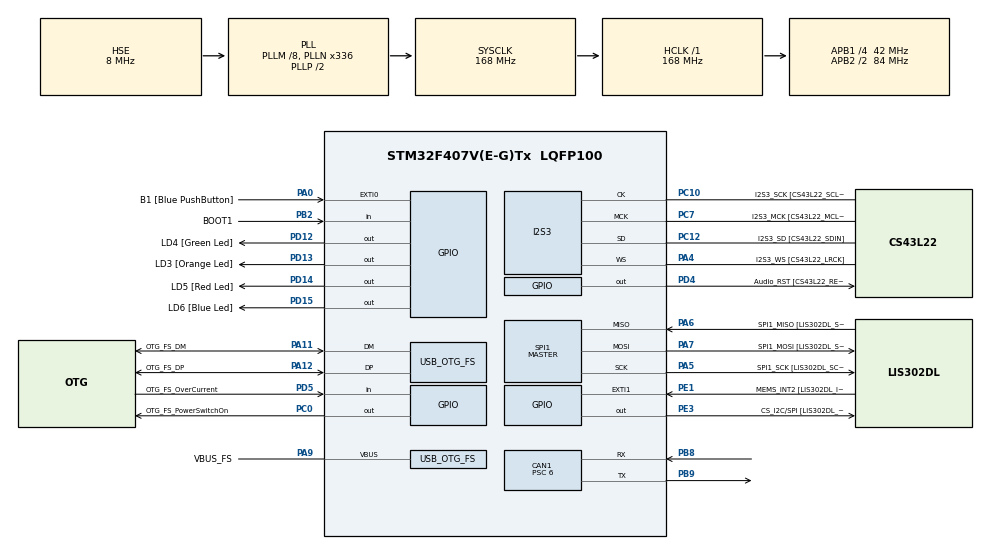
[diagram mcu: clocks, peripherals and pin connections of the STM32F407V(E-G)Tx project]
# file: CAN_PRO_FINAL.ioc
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CAN1.BS1=CAN_BS1_11TQ
CAN1.BS2=CAN_BS2_2TQ
CAN1.CalculateBaudRate=500000
CAN1.CalculateTimeBit=2000
CAN1.CalculateTimeQuantum=142.85714285714286
CAN1.Mode=CAN_MODE_LOOPBACK
CAN1.Prescaler=6
I2S3.AudioFreq-Half_Duplex_Master=I2S_AUDIOFREQ_96K
I2S3.ErrorAudioFreq=-2.34 %
I2S3.ErrorAudioFreq-Half_Duplex_Master=0.8 %
I2S3.FullDuplexMode=I2S_FULLDUPLEXMODE_DISABLE
I2S3.Instance=SPI$Index
I2S3.RealAudioFreq=93.75 KHz
I2S3.RealAudioFreq-Half_Duplex_Master=96.774 KHz
I2S3.VirtualMode=I2S_MODE_MASTER
Mcu.Family=STM32F4
Mcu.Name=STM32F407V(E-G)Tx
Mcu.Package=LQFP100
NVIC.CAN1_RX0_IRQn=true\:0\:0\:false\:false\:true\:true\:true\:true
NVIC.OTG_FS_IRQn=true\:0\:0\:false\:false\:true\:true\:true\:true
NVIC.PriorityGroup=NVIC_PRIORITYGROUP_0
PA0-WKUP.GPIO_Label=B1 [Blue PushButton]
PA0-WKUP.GPIO_ModeDefaultEXTI=GPIO_MODE_EVT_RISING
PA0-WKUP.GPIO_PuPd=GPIO_NOPULL
PA0-WKUP.Signal=GPXTI0
PA10.GPIO_Label=OTG_FS_ID
PA10.GPIO_Mode=GPIO_MODE_AF_PP
PA10.GPIO_PuPd=GPIO_NOPULL
PA10.GPIO_Speed=GPIO_SPEED_FREQ_LOW
PA10.Signal=USB_OTG_FS_ID
PA11.GPIO_Label=OTG_FS_DM
PA11.GPIO_Mode=GPIO_MODE_AF_PP
PA11.GPIO_PuPd=GPIO_NOPULL
PA11.GPIO_Speed=GPIO_SPEED_FREQ_LOW
PA11.Mode=Host_Only
PA11.Signal=USB_OTG_FS_DM
PA12.GPIO_Label=OTG_FS_DP
PA12.GPIO_Mode=GPIO_MODE_AF_PP
PA12.GPIO_PuPd=GPIO_NOPULL
PA12.GPIO_Speed=GPIO_SPEED_FREQ_LOW
PA12.Mode=Host_Only
PA12.Signal=USB_OTG_FS_DP
PA13.GPIO_Label=SWDIO
PA13.Mode=Serial_Wire
PA13.Signal=SYS_JTMS-SWDIO
PA14.GPIO_Label=SWCLK
PA14.Mode=Serial_Wire
PA14.Signal=SYS_JTCK-SWCLK
PA4.GPIO_Label=I2S3_WS [CS43L22_LRCK]
PA4.GPIO_Mode=GPIO_MODE_AF_PP
PA4.GPIO_PuPd=GPIO_NOPULL
PA4.GPIO_Speed=GPIO_SPEED_FREQ_LOW
PA4.Mode=Half_Duplex_Master
PA4.Signal=I2S3_WS
PA5.GPIO_Label=SPI1_SCK [LIS302DL_SCL/SPC]
PA5.GPIO_Mode=GPIO_MODE_AF_PP
PA5.GPIO_PuPd=GPIO_NOPULL
PA5.GPIO_Speed=GPIO_SPEED_FREQ_LOW
PA5.Mode=Full_Duplex_Master
PA5.Signal=SPI1_SCK
PA6.GPIO_Label=SPI1_MISO [LIS302DL_SDO]
PA6.GPIO_Mode=GPIO_MODE_AF_PP
PA6.GPIO_PuPd=GPIO_NOPULL
PA6.GPIO_Speed=GPIO_SPEED_FREQ_LOW
PA6.Mode=Full_Duplex_Master
PA6.Signal=SPI1_MISO
PA7.GPIO_Label=SPI1_MOSI [LIS302DL_SDA/SDI/SDO]
PA7.GPIO_Mode=GPIO_MODE_AF_PP
PA7.GPIO_PuPd=GPIO_NOPULL
PA7.GPIO_Speed=GPIO_SPEED_FREQ_LOW
PA7.Mode=Full_Duplex_Master
PA7.Signal=SPI1_MOSI
PA9.GPIO_Label=VBUS_FS
PA9.GPIO_Mode=GPIO_MODE_INPUT
PA9.GPIO_PuPd=GPIO_NOPULL
PA9.Mode=Activate_VBUS
PA9.Signal=USB_OTG_FS_VBUS
PB10.GPIO_Label=CLK_IN [MP45DT02_CLK]
PB10.GPIO_Mode=GPIO_MODE_AF_PP
PB10.GPIO_PuPd=GPIO_NOPULL
PB10.GPIO_Speed=GPIO_SPEED_FREQ_LOW
PB10.Signal=I2S2_CK
PB2.GPIO_Label=BOOT1
PB2.GPIO_Mode=GPIO_MODE_INPUT
PB2.GPIO_PuPd=GPIO_NOPULL
PB2.Signal=GPIO_Input
PB3.GPIO_Label=SWO
PB3.Signal=SYS_JTDO-SWO
PB6.GPIO_Label=Audio_SCL [CS43L22_SCL]
PB6.GPIO_Mode=GPIO_MODE_AF_OD
PB6.GPIO_Pu=GPIO_PULLUP
PB6.GPIO_PuPd=GPIO_NOPULL
PB6.GPIO_Speed=GPIO_SPEED_FREQ_LOW
PB6.Signal=I2C1_SCL
PB8.Mode=CAN_Activate
PB8.Signal=CAN1_RX
PB9.Mode=CAN_Activate
PB9.Signal=CAN1_TX
PC0.GPIO_Label=OTG_FS_PowerSwitchOn
PC0.GPIO_PuPd=GPIO_NOPULL
PC0.GPIO_Speed=GPIO_SPEED_FREQ_LOW
PC0.PinState=GPIO_PIN_SET
PC0.Signal=GPIO_Output
PC10.GPIO_Label=I2S3_SCK [CS43L22_SCLK]
PC10.GPIO_Mode=GPIO_MODE_AF_PP
PC10.GPIO_PuPd=GPIO_NOPULL
PC10.GPIO_Speed=GPIO_SPEED_FREQ_LOW
PC10.Mode=Half_Duplex_Master
PC10.Signal=I2S3_CK
PC12.GPIO_Label=I2S3_SD [CS43L22_SDIN]
PC12.GPIO_Mode=GPIO_MODE_AF_PP
PC12.GPIO_PuPd=GPIO_NOPULL
PC12.GPIO_Speed=GPIO_SPEED_FREQ_LOW
PC12.Mode=Half_Duplex_Master
PC12.Signal=I2S3_SD
PC14-OSC32_IN.GPIO_Label=PC14-OSC32_IN
PC14-OSC32_IN.Mode=LSE-External-Oscillator
PC14-OSC32_IN.Signal=RCC_OSC32_IN
PC15-OSC32_OUT.GPIO_Label=PC15-OSC32_OUT
PC15-OSC32_OUT.Mode=LSE-External-Oscillator
PC15-OSC32_OUT.Signal=RCC_OSC32_OUT
PC3.GPIO_Label=PDM_OUT [MP45DT02_DOUT]
PC3.GPIO_Mode=GPIO_MODE_AF_PP
PC3.GPIO_PuPd=GPIO_NOPULL
PC3.GPIO_Speed=GPIO_SPEED_FREQ_LOW
PC3.Signal=I2S2_SD
PC7.GPIO_Label=I2S3_MCK [CS43L22_MCLK]
PC7.GPIO_Mode=GPIO_MODE_AF_PP
PC7.GPIO_PuPd=GPIO_NOPULL
PC7.GPIO_Speed=GPIO_SPEED_FREQ_LOW
PC7.Mode=Master_Clock_Activated
PC7.Signal=I2S3_MCK
PD12.GPIO_Label=LD4 [Green Led]
PD12.GPIO_PuPd=GPIO_NOPULL
PD12.GPIO_Speed=GPIO_SPEED_FREQ_LOW
PD12.Signal=GPIO_Output
PD13.GPIO_Label=LD3 [Orange Led]
PD13.GPIO_PuPd=GPIO_NOPULL
PD13.GPIO_Speed=GPIO_SPEED_FREQ_LOW
PD13.Signal=GPIO_Output
PD14.GPIO_Label=LD5 [Red Led]
PD14.GPIO_PuPd=GPIO_NOPULL
PD14.GPIO_Speed=GPIO_SPEED_FREQ_LOW
PD14.Signal=GPIO_Output
PD15.GPIO_Label=LD6 [Blue Led]
PD15.GPIO_PuPd=GPIO_NOPULL
PD15.GPIO_Speed=GPIO_SPEED_FREQ_LOW
PD15.Signal=GPIO_Output
PD4.GPIO_Label=Audio_RST [CS43L22_RESET]
PD4.GPIO_PuPd=GPIO_NOPULL
PD4.GPIO_Speed=GPIO_SPEED_FREQ_LOW
PD4.Signal=GPIO_Output
PD5.GPIO_Label=OTG_FS_OverCurrent
PD5.GPIO_Mode=GPIO_MODE_INPUT
PD5.GPIO_PuPd=GPIO_NOPULL
PD5.Signal=GPIO_Input
PE1.GPIO_Label=MEMS_INT2 [LIS302DL_INT2]
PE1.GPIO_ModeDefaultEXTI=GPIO_MODE_EVT_RISING
PE1.GPIO_PuPd=GPIO_NOPULL
PE1.Signal=GPXTI1
PE3.GPIO_Label=CS_I2C/SPI [LIS302DL_CS_I2C/SPI]
PE3.GPIO_PuPd=GPIO_NOPULL
PE3.GPIO_Speed=GPIO_SPEED_FREQ_LOW
PE3.Signal=GPIO_Output
PH0-OSC_IN.GPIO_Label=PH0-OSC_IN
PH0-OSC_IN.Mode=HSE-External-Oscillator
PH0-OSC_IN.Signal=RCC_OSC_IN
PH1-OSC_OUT.GPIO_Label=PH1-OSC_OUT
PH1-OSC_OUT.Mode=HSE-External-Oscillator
PH1-OSC_OUT.Signal=RCC_OSC_OUT
ProjectManager.HeapSize=0x200
ProjectManager.StackSize=0x400
ProjectManager.TargetToolchain=STM32CubeIDE
RCC.48MHZClocksFreq_Value=48000000
RCC.AHBFreq_Value=168000000
RCC.APB1CLKDivider=RCC_HCLK_DIV4
RCC.APB1Freq_Value=42000000
RCC.APB1TimFreq_Value=84000000
RCC.APB2CLKDivider=RCC_HCLK_DIV2
RCC.APB2Freq_Value=84000000
RCC.APB2TimFreq_Value=168000000
RCC.CortexFreq_Value=168000000
RCC.HCLKFreq_Value=168000000
RCC.HSE_VALUE=8000000
RCC.HSI_VALUE=16000000
RCC.PLLM=8
RCC.PLLN=336
RCC.PLLQ=7
RCC.SYSCLKFreq_VALUE=168000000
RCC.SYSCLKSource=RCC_SYSCLKSOURCE_PLLCLK
RCC.VCOOutputFreq_Value=336000000
SPI1.BaudRatePrescaler-Full_Duplex_Master=SPI_BAUDRATEPRESCALER_2
SPI1.CalculateBaudRate-Full_Duplex_Master=42.0 MBits/s
SPI1.Direction=SPI_DIRECTION_2LINES
SPI1.Mode=SPI_MODE_MASTER
SPI1.Mode-Full_Duplex_Master=SPI_MODE_MASTER
SPI1.VirtualType=VM_MASTER
USB_HOST.BSP.number=1
USB_HOST.USBH_HandleTypeDef-CDC_FS=hUsbHostFS
USB_HOST.VirtualModeFS=Cdc
USB_HOST0.BSP.STBoard=false
USB_HOST0.BSP.api=Unknown
USB_HOST0.BSP.instance=PC0
USB_HOST0.BSP.ip=GPIO
USB_HOST0.BSP.mode=Output
USB_HOST0.BSP.name=Drive_VBUS_FS
USB_HOST0.BSP.solution=PC0
USB_OTG_FS.VirtualMode=Host_Only
USB_OTG_FS.phy_itface=HCD_PHY_EMBEDDED
VP_USB_HOST_VS_USB_HOST_CDC_FS.Mode=CDC_FS
board=STM32F407G-DISC1

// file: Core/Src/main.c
/* USER CODE BEGIN Header */
/**
  ******************************************************************************
  * @file           : main.c
  * @brief          : Main program body
  ******************************************************************************
  */
/* USER CODE END Header */
#include "main.h"

/* USER CODE BEGIN Includes */
#include "stm32f4xx_hal_can.h"
/* USER CODE END Includes */

CAN_HandleTypeDef hcan1;
I2S_HandleTypeDef hi2s3;
SPI_HandleTypeDef hspi1;
HCD_HandleTypeDef hhcd_USB_OTG_FS;

/* USER CODE BEGIN PV */
CAN_TxHeaderTypeDef   TxHeader;
uint8_t               TxData[8];
uint32_t              TxMailbox;

volatile uint8_t CAN_Rx_Flag = 0; // Yeni mesaj geldiğinde 1 olacak
CAN_RxHeaderTypeDef Global_RxHeader;
uint8_t Global_RxData[8];
/* USER CODE END PV */

void SystemClock_Config(void);
static void MX_GPIO_Init(void);
static void MX_I2S3_Init(void);
static void MX_SPI1_Init(void);
static void MX_USB_OTG_FS_HCD_Init(void);
static void MX_CAN1_Init(void);

/* main entry point */
int main(void)
{
  HAL_Init();
  SystemClock_Config();

  MX_GPIO_Init();
  MX_I2S3_Init();
  MX_SPI1_Init();
  MX_USB_OTG_FS_HCD_Init();
  MX_CAN1_Init();

  /* USER CODE BEGIN 2 */
  // CAN Tx Başlık Ayarları
  TxHeader.DLC = 8;
  TxHeader.IDE = CAN_ID_STD;
  TxHeader.RTR = CAN_RTR_DATA;
  TxHeader.StdId = 0x103;
  TxHeader.TransmitGlobalTime = DISABLE;

  // CAN Filtre Yapılandırması (Gelen her mesajı kabul et)
  CAN_FilterTypeDef sFilterConfig;
  sFilterConfig.FilterBank = 0;
  sFilterConfig.FilterMode = CAN_FILTERMODE_IDMASK;
  sFilterConfig.FilterScale = CAN_FILTERSCALE_32BIT;
  sFilterConfig.FilterIdHigh = 0x0000;
  sFilterConfig.FilterIdLow = 0x0000;
  sFilterConfig.FilterMaskIdHigh = 0x0000;
  sFilterConfig.FilterMaskIdLow = 0x0000;
  sFilterConfig.FilterFIFOAssignment = CAN_RX_FIFO0;
  sFilterConfig.FilterActivation = ENABLE;
  sFilterConfig.SlaveStartFilterBank = 14;

  if (HAL_CAN_ConfigFilter(&hcan1, &sFilterConfig) != HAL_OK)
  {
      Error_Handler();
  }

  // Kesme Önceliklerini Ayarla (NVIC)
  HAL_NVIC_SetPriority(CAN1_RX0_IRQn, 1, 0);
  HAL_NVIC_EnableIRQ(CAN1_RX0_IRQn);

  // ÖNCE CAN HATTINI BAŞLAT
  if (HAL_CAN_Start(&hcan1) != HAL_OK)
  {
      Error_Handler();
  }

  // SONRA KESMEYİ AKTİF ET
  if (HAL_CAN_ActivateNotification(&hcan1, CAN_IT_RX_FIFO0_MSG_PENDING) != HAL_OK)
  {
      Error_Handler();
  }
  /* USER CODE END 2 */

  /* Infinite loop */
  /* Infinite loop */
    uint32_t telemetry_timer = 0; // Telemetri zamanlayıcısı

    while (1)
    {
        // 1. Telemetri Gönderimi (1000 milisaniyede bir çalışır, işlemciyi KİLİTLEMEZ)
        if (HAL_GetTick() - telemetry_timer >= 1000)
        {
            telemetry_timer = HAL_GetTick(); // Zamanı güncelle

            TxData[2] = 25; // Sabit sıcaklık
            if (HAL_CAN_AddTxMessage(&hcan1, &TxHeader, TxData, &TxMailbox) == HAL_OK)
            {
                HAL_GPIO_TogglePin(GPIOD, GPIO_PIN_12); // Yeşil LED'i kırpıştır (PD12)
            }
        }

        // 2. Pi'den Gelen Komutun Kontrolü (Hızlı ve Kesintisiz Alan)
        if (CAN_Rx_Flag == 1)
        {
            CAN_Rx_Flag = 0; // Bayrağı anında sıfırla

            if (Global_RxHeader.StdId == 0x201)
            {
                if (Global_RxData[0] == 0x01)
                {
                    HAL_GPIO_WritePin(GPIOD, GPIO_PIN_13, GPIO_PIN_SET);   // Turuncu LED AÇ
                    // Test için mavi LED'i de yakalım (Donanımsal pin kontrolü için garanti)
                    HAL_GPIO_WritePin(GPIOD, GPIO_PIN_15, GPIO_PIN_SET);   // Mavi LED AÇ
                }
                else if (Global_RxData[0] == 0x00)
                {
                    HAL_GPIO_WritePin(GPIOD, GPIO_PIN_13, GPIO_PIN_RESET); // Turuncu LED KAPAT
                    HAL_GPIO_WritePin(GPIOD, GPIO_PIN_15, GPIO_PIN_RESET); // Mavi LED KAPAT
                }
            }
        }

        // HAL_Delay(1000); // <--- BU KATİLİ TAMAMEN SİLDİK, ARTIK İŞLEMCİ UYUMUYOR!
    }
}

void SystemClock_Config(void)
{
  RCC_OscInitTypeDef RCC_OscInitStruct = {0};
  RCC_ClkInitTypeDef RCC_ClkInitStruct = {0};

  __HAL_RCC_PWR_CLK_ENABLE();
  __HAL_PWR_VOLTAGESCALING_CONFIG(PWR_REGULATOR_VOLTAGE_SCALE1);

  RCC_OscInitStruct.OscillatorType = RCC_OSCILLATORTYPE_HSE;
  RCC_OscInitStruct.HSEState = RCC_HSE_ON;
  RCC_OscInitStruct.PLL.PLLState = RCC_PLL_ON;
  RCC_OscInitStruct.PLL.PLLSource = RCC_PLLSOURCE_HSE;
  RCC_OscInitStruct.PLL.PLLM = 8;
  RCC_OscInitStruct.PLL.PLLN = 336;
  RCC_OscInitStruct.PLL.PLLP = RCC_PLLP_DIV2;
  RCC_OscInitStruct.PLL.PLLQ = 7;
  if (HAL_RCC_OscConfig(&RCC_OscInitStruct) != HAL_OK)
  {
    Error_Handler();
  }

  RCC_ClkInitStruct.ClockType = RCC_CLOCKTYPE_HCLK|RCC_CLOCKTYPE_SYSCLK
                              |RCC_CLOCKTYPE_PCLK1|RCC_CLOCKTYPE_PCLK2;
  RCC_ClkInitStruct.SYSCLKSource = RCC_SYSCLKSOURCE_PLLCLK;
  RCC_ClkInitStruct.AHBCLKDivider = RCC_SYSCLK_DIV1;
  RCC_ClkInitStruct.APB1CLKDivider = RCC_HCLK_DIV4;
  RCC_ClkInitStruct.APB2CLKDivider = RCC_HCLK_DIV2;

  if (HAL_RCC_ClockConfig(&RCC_ClkInitStruct, FLASH_LATENCY_5) != HAL_OK)
  {
    Error_Handler();
  }
}

static void MX_CAN1_Init(void)
{
  hcan1.Instance = CAN1;
  hcan1.Init.Prescaler = 12;
  hcan1.Init.Mode = CAN_MODE_NORMAL;
  hcan1.Init.SyncJumpWidth = CAN_SJW_1TQ;
  hcan1.Init.TimeSeg1 = CAN_BS1_11TQ;
  hcan1.Init.TimeSeg2 = CAN_BS2_2TQ;
  hcan1.Init.TimeTriggeredMode = DISABLE;
  hcan1.Init.AutoBusOff = DISABLE;
  hcan1.Init.AutoWakeUp = DISABLE;
  hcan1.Init.AutoRetransmission = DISABLE;
  hcan1.Init.ReceiveFifoLocked = DISABLE;
  hcan1.Init.TransmitFifoPriority = DISABLE;
  if (HAL_CAN_Init(&hcan1) != HAL_OK)
  {
    Error_Handler();
  }
}

static void MX_I2S3_Init(void)
{
  hi2s3.Instance = SPI3;
  hi2s3.Init.Mode = I2S_MODE_MASTER_TX;
  hi2s3.Init.Standard = I2S_STANDARD_PHILIPS;
  hi2s3.Init.DataFormat = I2S_DATAFORMAT_16B;
  hi2s3.Init.MCLKOutput = I2S_MCLKOUTPUT_ENABLE;
  hi2s3.Init.AudioFreq = I2S_AUDIOFREQ_96K;
  hi2s3.Init.CPOL = I2S_CPOL_LOW;
  hi2s3.Init.ClockSource = I2S_CLOCK_PLL;
  hi2s3.Init.FullDuplexMode = I2S_FULLDUPLEXMODE_DISABLE;
  if (HAL_I2S_Init(&hi2s3) != HAL_OK)
  {
    Error_Handler();
  }
}

static void MX_SPI1_Init(void)
{
  hspi1.Instance = SPI1;
  hspi1.Init.Mode = SPI_MODE_MASTER;
  hspi1.Init.Direction = SPI_DIRECTION_2LINES;
  hspi1.Init.DataSize = SPI_DATASIZE_8BIT;
  hspi1.Init.CLKPolarity = SPI_POLARITY_LOW;
  hspi1.Init.CLKPhase = SPI_PHASE_1EDGE;
  hspi1.Init.NSS = SPI_NSS_SOFT;
  hspi1.Init.BaudRatePrescaler = SPI_BAUDRATEPRESCALER_2;
  hspi1.Init.FirstBit = SPI_FIRSTBIT_MSB;
  hspi1.Init.TIMode = SPI_TIMODE_DISABLE;
  hspi1.Init.CRCCalculation = SPI_CRCCALCULATION_DISABLE;
  hspi1.Init.CRCPolynomial = 10;
  if (HAL_SPI_Init(&hspi1) != HAL_OK)
  {
    Error_Handler();
  }
}

static void MX_USB_OTG_FS_HCD_Init(void)
{
  hhcd_USB_OTG_FS.Instance = USB_OTG_FS;
  hhcd_USB_OTG_FS.Init.Host_channels = 8;
  hhcd_USB_OTG_FS.Init.speed = HCD_SPEED_FULL;
  hhcd_USB_OTG_FS.Init.dma_enable = DISABLE;
  hhcd_USB_OTG_FS.Init.phy_itface = HCD_PHY_EMBEDDED;
  hhcd_USB_OTG_FS.Init.Sof_enable = DISABLE;
  if (HAL_HCD_Init(&hhcd_USB_OTG_FS) != HAL_OK)
  {
    Error_Handler();
  }
}

static void MX_GPIO_Init(void)
{
  GPIO_InitTypeDef GPIO_InitStruct = {0};

  __HAL_RCC_GPIOE_CLK_ENABLE();
  __HAL_RCC_GPIOC_CLK_ENABLE();
  __HAL_RCC_GPIOH_CLK_ENABLE();
  __HAL_RCC_GPIOA_CLK_ENABLE();
  __HAL_RCC_GPIOB_CLK_ENABLE();
  __HAL_RCC_GPIOD_CLK_ENABLE();

  HAL_GPIO_WritePin(CS_I2C_SPI_GPIO_Port, CS_I2C_SPI_Pin, GPIO_PIN_RESET);
  HAL_GPIO_WritePin(OTG_FS_PowerSwitchOn_GPIO_Port, OTG_FS_PowerSwitchOn_Pin, GPIO_PIN_SET);
  HAL_GPIO_WritePin(GPIOD, LD4_Pin|LD3_Pin|LD5_Pin|LD6_Pin|Audio_RST_Pin, GPIO_PIN_RESET);

  GPIO_InitStruct.Pin = CS_I2C_SPI_Pin;
  GPIO_InitStruct.Mode = GPIO_MODE_OUTPUT_PP;
  GPIO_InitStruct.Pull = GPIO_NOPULL;
  GPIO_InitStruct.Speed = GPIO_SPEED_FREQ_LOW;
  HAL_GPIO_Init(CS_I2C_SPI_GPIO_Port, &GPIO_InitStruct);

  GPIO_InitStruct.Pin = OTG_FS_PowerSwitchOn_Pin;
  GPIO_InitStruct.Mode = GPIO_MODE_OUTPUT_PP;
  GPIO_InitStruct.Pull = GPIO_NOPULL;
  GPIO_InitStruct.Speed = GPIO_SPEED_FREQ_LOW;
  HAL_GPIO_Init(OTG_FS_PowerSwitchOn_GPIO_Port, &GPIO_InitStruct);

  GPIO_InitStruct.Pin = PDM_OUT_Pin;
  GPIO_InitStruct.Mode = GPIO_MODE_AF_PP;
  GPIO_InitStruct.Pull = GPIO_NOPULL;
  GPIO_InitStruct.Speed = GPIO_SPEED_FREQ_LOW;
  GPIO_InitStruct.Alternate = GPIO_AF5_SPI2;
  HAL_GPIO_Init(PDM_OUT_GPIO_Port, &GPIO_InitStruct);

  GPIO_InitStruct.Pin = B1_Pin;
  GPIO_InitStruct.Mode = GPIO_MODE_EVT_RISING;
  GPIO_InitStruct.Pull = GPIO_NOPULL;
  HAL_GPIO_Init(B1_GPIO_Port, &GPIO_InitStruct);

  GPIO_InitStruct.Pin = BOOT1_Pin;
  GPIO_InitStruct.Mode = GPIO_MODE_INPUT;
  GPIO_InitStruct.Pull = GPIO_NOPULL;
  HAL_GPIO_Init(BOOT1_GPIO_Port, &GPIO_InitStruct);

  GPIO_InitStruct.Pin = CLK_IN_Pin;
  GPIO_InitStruct.Mode = GPIO_MODE_AF_PP;
  GPIO_InitStruct.Pull = GPIO_NOPULL;
  GPIO_InitStruct.Speed = GPIO_SPEED_FREQ_LOW;
  GPIO_InitStruct.Alternate = GPIO_AF5_SPI2;
  HAL_GPIO_Init(CLK_IN_GPIO_Port, &GPIO_InitStruct);

  GPIO_InitStruct.Pin = LD4_Pin|LD3_Pin|LD5_Pin|LD6_Pin|Audio_RST_Pin;
  GPIO_InitStruct.Mode = GPIO_MODE_OUTPUT_PP;
  GPIO_InitStruct.Pull = GPIO_NOPULL;
  GPIO_InitStruct.Speed = GPIO_SPEED_FREQ_LOW;
  HAL_GPIO_Init(GPIOD, &GPIO_InitStruct);

  GPIO_InitStruct.Pin = OTG_FS_OverCurrent_Pin;
  GPIO_InitStruct.Mode = GPIO_MODE_INPUT;
  GPIO_InitStruct.Pull = GPIO_NOPULL;
  HAL_GPIO_Init(OTG_FS_OverCurrent_GPIO_Port, &GPIO_InitStruct);

  GPIO_InitStruct.Pin = Audio_SCL_Pin;
  GPIO_InitStruct.Mode = GPIO_MODE_AF_OD;
  GPIO_InitStruct.Pull = GPIO_PULLUP;
  GPIO_InitStruct.Speed = GPIO_SPEED_FREQ_LOW;
  GPIO_InitStruct.Alternate = GPIO_AF4_I2C1;
  HAL_GPIO_Init(Audio_SCL_GPIO_Port, &GPIO_InitStruct);

  GPIO_InitStruct.Pin = MEMS_INT2_Pin;
  GPIO_InitStruct.Mode = GPIO_MODE_EVT_RISING;
  GPIO_InitStruct.Pull = GPIO_NOPULL;
  HAL_GPIO_Init(MEMS_INT2_GPIO_Port, &GPIO_InitStruct);
}

/* USER CODE BEGIN 4 */
void HAL_CAN_RxFifo0MsgPendingCallback(CAN_HandleTypeDef *hcan)
{
    if (hcan->Instance == CAN1)
    {
        if (HAL_CAN_GetRxMessage(hcan, CAN_RX_FIFO0, &Global_RxHeader, Global_RxData) == HAL_OK)
        {
            CAN_Rx_Flag = 1;
        }
    }
}
/* USER CODE END 4 */

void Error_Handler(void)
{
  __disable_irq();
  while (1)
  {
  }
}
